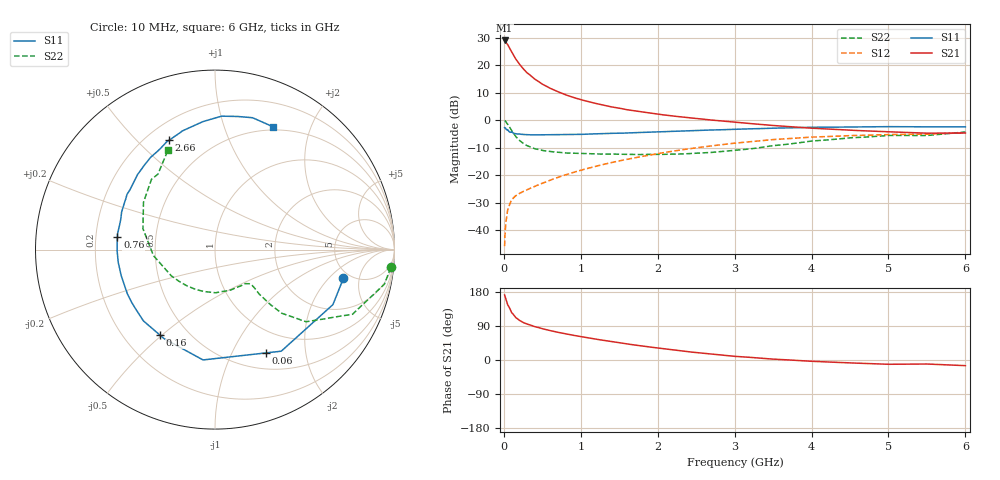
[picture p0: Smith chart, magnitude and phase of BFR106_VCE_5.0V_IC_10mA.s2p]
! Infineon Technologies  Discrete & RF Semiconductors
! BFR106
! VCE =  5.0 V,  IC =  10 mA
! Common Emitter S-Parameters:  Nov 2015
# GHz  S  MA  R  50
!  f  S11  S21  S12  S22
! GHz  MAG  ANG  MAG  ANG  MAG  ANG  MAG  ANG
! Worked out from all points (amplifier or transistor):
!   210 points, 10 MHz to 6 GHz, reference 50 ohm
!   highest |S21| = 29.0 dB at 10 MHz (marker M1)
!   |S21| within 3 dB of that: start of sweep to 78.18 MHz
!   unconditionally stable (mu >= 1): 487 MHz to 1.987 GHz; 5.308 GHz to end of sweep
!   at 185 MHz: K = 0.56, MSG = 24.0 dB, |S12| = -27.0 dB
!   at 1.52 GHz: K = 1.07, MAG = 7.8 dB, |S12| = -14.7 dB
!   at 6 GHz: K = 1.01, MAG = -0.5 dB, |S12| = -4.6 dB
!   S11 on the Smith chart (normalised r, x): 10 MHz: 4.34, -3.00; 60 MHz: 0.70, -1.36; 160 MHz: 0.35, -0.49; 760 MHz: 0.29, +0.06; 2.66 GHz: 0.29, +0.63; 6 GHz: 0.46, +1.48
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0.01  0.7331 -12.6  28.3 171.6  0.0051 86.1  0.9838 -5.8
0.02  0.725 -25.0  27.58 164.9  0.0107 79.0  0.9638 -11.5
0.05  0.6757 -56.9  23.76 145.7  0.0232 65.0  0.8464 -25.2
0.06  0.6411 -63.9  22.36 142.5  0.0255 61.4  0.8037 -27.3
0.1  0.6184 -96.2  17.71 125.4  0.0355 51.9  0.6473 -38.4
0.15  0.5715 -119.7  13.29 112.6  0.0417 47.5  0.5128 -43.7
0.16  0.5665 -122.7  12.74 111.3  0.0426 47.4  0.4969 -43.9
0.2  0.5629 -135.1  10.59 104.9  0.0463 47.2  0.4336 -44.8
0.24  0.5514 -144.2  9.051 100.3  0.0495 47.5  0.3886 -45.0
0.3  0.5469 -153.3  7.338 94.8  0.0542 49.3  0.3454 -45.1
0.4  0.5424 -164.6  5.625 88.1  0.0624 52.7  0.3036 -44.1
0.5  0.5439 -172.6  4.537 82.5  0.0712 55.5  0.2813 -43.8
0.6  0.5454 -179.4  3.827 77.6  0.0808 58.0  0.2693 -44.9
0.76  0.5485 172.6  3.069 70.8  0.0969 60.5  0.2566 -47.7
1.02  0.5533 161.3  2.329 61.0  0.125 62.6  0.2485 -54.1
1.4  0.5789 147.8  1.748 48.7  0.1696 62.6  0.242 -67.3
2.02  0.6141 129.6  1.28 31.1  0.2492 58.0  0.2389 -95.5
2.66  0.6608 112.8  1.019 16.4  0.3359 49.8  0.2572 -130.2
3.1  0.6903 103.3  0.895 8.4  0.3938 42.9  0.2909 -154.8
4.1  0.7451 85.8  0.704 -4.2  0.4982 25.7  0.4266 160.0
5.1  0.7621 73.0  0.609 -11.2  0.5496 10.4  0.5273 131.1
6  0.7564 64.5  0.585 -14.9  0.5906 -0.7  0.6118 115.4
